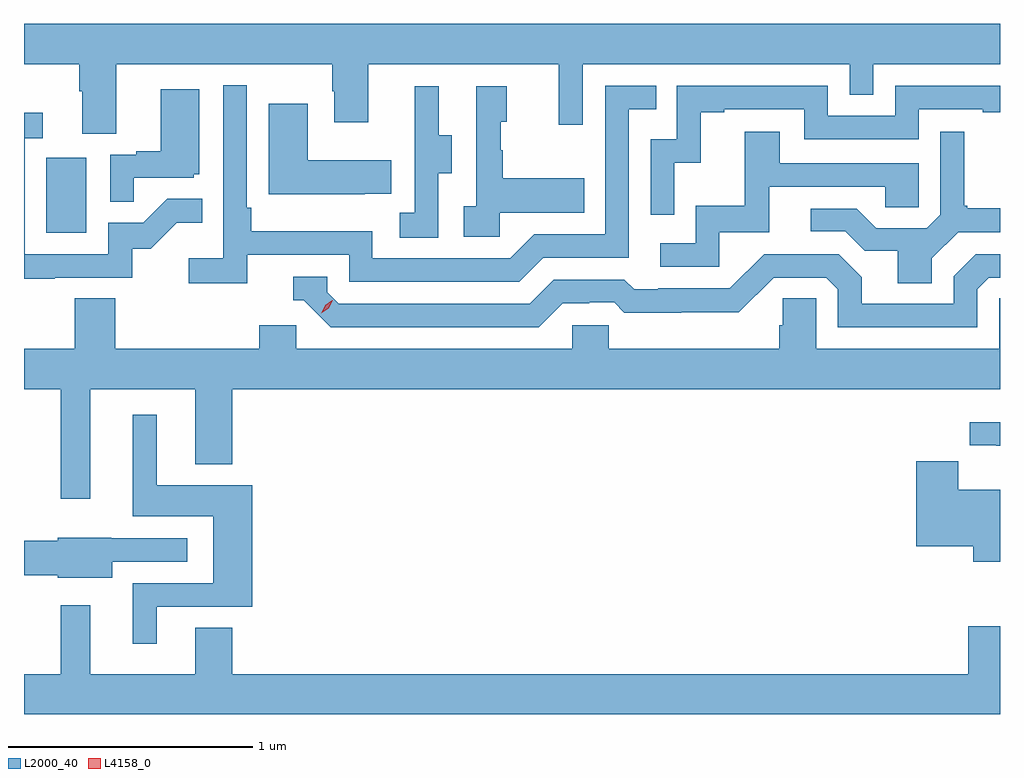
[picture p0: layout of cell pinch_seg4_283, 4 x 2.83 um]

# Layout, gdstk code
import gdstk
lib = gdstk.Library(unit=1e-6, precision=1e-09)
def R(c, l, rs):  # rectangles x0, y0, x1, y1
    for r in rs: c.add(gdstk.rectangle(r[:2], r[2:], *l))
def P(c, l, *ps):  # polygons
    for p in ps: c.add(gdstk.Polygon(p, *l))
L2000_40 = (2000, 40)
L4158_0 = (4158, 0)

pinch_seg4_283 = lib.new_cell('pinch_seg4_283')
R(pinch_seg4_283, L2000_40, [(901.028,810.78,901.192,811.087)])
P(pinch_seg4_283, L2000_40, [(901.315,811.472),(902.2,811.472),(902.2,811.361),(902.207,811.361),(902.207,811.233),(902.347,811.233),(902.347,811.472),(903.128,811.472),(903.128,811.224),(903.225,811.224),(903.225,811.472),(904.32,811.472),(904.32,811.345),(904.416,811.345),(904.416,811.472),(904.936,811.472),(904.936,811.636),(900.936,811.636),(900.936,811.472),(901.163,811.472),(901.163,811.36),(901.175,811.36),(901.175,811.186),(901.315,811.186)],
  [(901.85,810.69),(902.268,810.69),(902.268,810.579),(902.965,810.579),(903.064,810.678),(903.414,810.678),(903.414,811.287),(903.527,811.287),(903.527,811.383),(903.318,811.383),(903.318,810.774),(903.027,810.774),(902.928,810.675),(902.364,810.675),(902.364,810.787),(901.868,810.787),(901.868,810.883),(901.848,810.883),(901.848,811.384),(901.752,811.384),(901.752,810.676),(901.611,810.676),(901.611,810.574),(901.85,810.574)],
  [(903.6,811.067),(903.71,811.067),(903.71,811.275),(903.805,811.275),(903.805,811.287),(904.134,811.287),(904.134,811.164),(904.602,811.164),(904.602,811.287),(904.865,811.287),(904.865,811.275),(904.936,811.275),(904.936,811.383),(904.506,811.383),(904.506,811.26),(904.23,811.26),(904.23,811.383),(903.612,811.383),(903.612,811.164),(903.504,811.164),(903.504,810.855),(903.6,810.855)],
  [(902.634,811.024),(902.689,811.024),(902.689,811.179),(902.635,811.179),(902.635,811.381),(902.537,811.381),(902.537,811.167),(902.538,811.167),(902.538,810.863),(902.475,810.863),(902.475,810.76),(902.634,810.76)],
  [(902.886,810.863),(903.233,810.863),(903.233,811.003),(902.899,811.003),(902.899,811.118),(902.889,811.118),(902.889,811.236),(902.914,811.236),(902.914,811.381),(902.79,811.381),(902.79,810.89),(902.739,810.89),(902.739,810.765),(902.886,810.765)],
  [(901.385,811.005),(901.632,811.005),(901.632,811.02),(901.654,811.02),(901.654,811.369),(901.496,811.369),(901.496,811.114),(901.397,811.114),(901.397,811.101),(901.29,811.101),(901.29,810.907),(901.385,810.907)],
  [(902.333,810.941),(902.441,810.941),(902.441,811.078),(902.098,811.078),(902.098,811.309),(901.94,811.309),(901.94,810.938),(902.333,810.938)],
  [(901.061,810.597),(901.38,810.597),(901.38,810.714),(901.456,810.714),(901.563,810.821),(901.667,810.821),(901.667,810.92),(901.523,810.92),(901.425,810.822),(901.281,810.822),(901.281,810.693),(900.939,810.693),(900.939,811.167),(901.012,811.167),(901.012,811.273),(900.936,811.273),(900.936,810.592),(901.061,810.592)],
  [(903.786,810.783),(903.991,810.783),(903.991,810.969),(904.465,810.969),(904.465,810.885),(904.602,810.885),(904.602,811.065),(904.033,811.065),(904.033,811.195),(903.889,811.195),(903.889,810.892),(903.69,810.892),(903.69,810.738),(903.543,810.738),(903.543,810.642),(903.786,810.642)],
  [(904.657,810.676),(904.764,810.783),(904.936,810.783),(904.936,810.88),(904.801,810.88),(904.801,810.892),(904.789,810.892),(904.789,811.195),(904.692,811.195),(904.692,810.855),(904.635,810.798),(904.429,810.798),(904.348,810.879),(904.161,810.879),(904.161,810.786),(904.302,810.786),(904.382,810.706),(904.517,810.706),(904.517,810.574),(904.657,810.574)],
  [(903.145,810.492),(903.252,810.492),(903.252,810.495),(903.355,810.495),(903.397,810.453),(903.63,810.453),(903.63,810.455),(903.866,810.455),(904.008,810.597),(904.224,810.597),(904.272,810.549),(904.272,810.393),(904.842,810.393),(904.842,810.549),(904.89,810.597),(904.936,810.597),(904.936,810.693),(904.836,810.693),(904.746,810.603),(904.746,810.489),(904.369,810.489),(904.369,810.599),(904.275,810.693),(903.969,810.693),(903.828,810.552),(903.535,810.552),(903.535,810.549),(903.436,810.549),(903.397,810.588),(903.108,810.588),(903.009,810.489),(902.226,810.489),(902.178,810.537),(902.178,810.6),(902.039,810.6),(902.039,810.504),(902.082,810.504),(902.193,810.393),(903.046,810.393)],
  [(901.207,810.14),(901.637,810.14),(901.637,809.831),(901.79,809.831),(901.79,810.14),(904.936,810.14),(904.936,810.512),(904.932,810.512),(904.932,810.304),(904.182,810.304),(904.182,810.512),(904.045,810.512),(904.045,810.402),(904.031,810.402),(904.031,810.304),(903.333,810.304),(903.333,810.402),(903.183,810.402),(903.183,810.304),(902.052,810.304),(902.052,810.402),(901.901,810.402),(901.901,810.304),(901.31,810.304),(901.31,810.512),(901.145,810.512),(901.145,810.304),(900.936,810.304),(900.936,810.14),(901.086,810.14),(901.086,809.691),(901.207,809.691)],
  [(901.48,809.247),(901.871,809.247),(901.871,809.746),(901.48,809.746),(901.48,810.034),(901.382,810.034),(901.382,809.618),(901.712,809.618),(901.712,809.343),(901.382,809.343),(901.382,809.097),(901.48,809.097)],
  [(904.936,810.004),(904.812,810.004),(904.812,809.909),(904.921,809.909),(904.921,809.907),(904.936,809.907)],
  [(904.936,809.728),(904.765,809.728),(904.765,809.844),(904.592,809.844),(904.592,809.495),(904.826,809.495),(904.826,809.432),(904.936,809.432)],
  [(901.297,809.433),(901.606,809.433),(901.606,809.529),(901.293,809.529),(901.293,809.53),(901.074,809.53),(901.074,809.519),(900.936,809.519),(900.936,809.377),(901.074,809.377),(901.074,809.366),(901.297,809.366)],
  [(904.936,809.167),(904.805,809.167),(904.805,808.972),(901.79,808.972),(901.79,809.162),(901.637,809.162),(901.637,808.972),(901.207,808.972),(901.207,809.254),(901.086,809.254),(901.086,808.972),(900.936,808.972),(900.936,808.808),(904.936,808.808)])
P(pinch_seg4_283, L4158_0, [(902.155,810.451),(902.155,810.451),(902.17,810.484),(902.2,810.504),(902.201,810.504),(902.201,810.504),(902.185,810.471),(902.155,810.451)])

lib.write_gds('pinch_seg4_283.gds')
